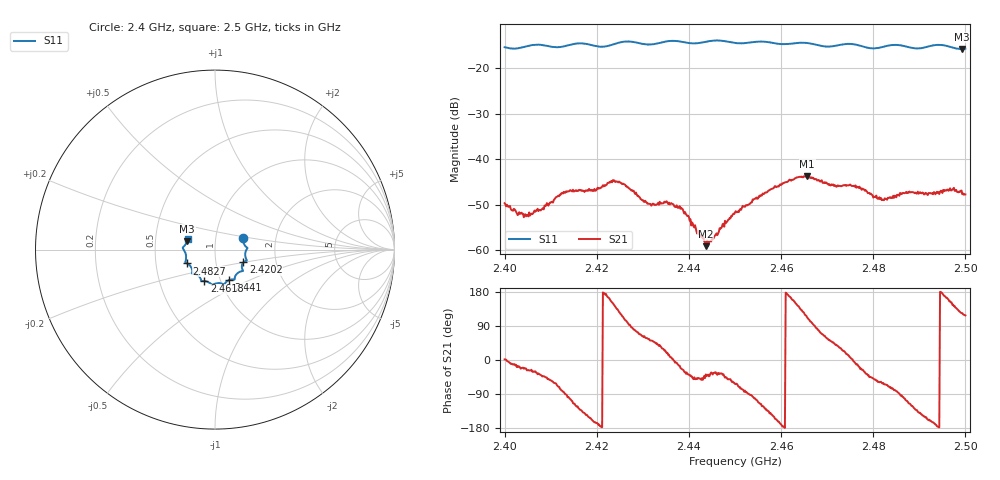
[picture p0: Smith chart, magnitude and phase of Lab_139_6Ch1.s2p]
# Hz S RI R 50
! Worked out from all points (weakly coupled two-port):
!   601 points, 2.4 GHz to 2.5 GHz, reference 50 ohm
!   highest |S21| = -43.71 dB at 2.4657 GHz (marker M1); lowest = -59.1 dB at 2.4437 GHz (marker M2)
!   lowest |S11| = -15.8 dB at 2.4992 GHz (marker M3), VSWR 1.39, Z = 36.5 + j3.65 ohm
!   |S11| at or under -10 dB: start of sweep to end of sweep
!   S12 and S22 are empty: the file has one direction only
!   S11 on the Smith chart (normalised r, x): 2.4 GHz: 1.36, +0.18; 2.4202 GHz: 1.36, -0.20; 2.441 GHz: 1.10, -0.39; 2.4618 GHz: 0.84, -0.30; 2.4827 GHz: 0.72, -0.12; 2.5 GHz: 0.73, +0.09
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2.4e9  0.158 0.0625  0.00328 9.33e-05  0 0  0 0
2.404667e9  0.1728 0.0157  0.00218 -0.000903  0 0  0 0
2.412833e9  0.1692 -0.038  0.000416 -0.00435  0 0  0 0
2.416667e9  0.1771 -0.0607  -0.00312 -0.00334  0 0  0 0
2.420167e9  0.1582 -0.0712  -0.00473 -0.00105  0 0  0 0
2.424e9  0.1515 -0.1067  -0.00436 0.00355  0 0  0 0
2.430667e9  0.1297 -0.1283  0.0018 0.00288  0 0  0 0
2.433333e9  0.1115 -0.1511  0.00252 0.00216  0 0  0 0
2.438167e9  0.1034 -0.1668  0.00266 -0.00101  0 0  0 0
2.441e9  0.0786 -0.1697  0.00116 -0.00141  0 0  0 0
2.443667e9  0.057 -0.1861  0.00087 -0.000684  0 0  0 0
2.444667e9  0.0532 -0.1917  0.00102 -0.000734  0 0  0 0
2.45e9  0.0283 -0.1871  0.00117 -0.00232  0 0  0 0
2.461833e9  -0.0595 -0.1754  -0.00582 0.00128  0 0  0 0
2.465667e9  -0.077 -0.1724  -0.00245 0.00604  0 0  0 0
2.466667e9  -0.0783 -0.1682  -0.000929 0.00624  0 0  0 0
2.476667e9  -0.1267 -0.1267  0.00479 -0.00116  0 0  0 0
2.482667e9  -0.1561 -0.0773  0.00158 -0.0033  0 0  0 0
2.483333e9  -0.1604 -0.0753  0.00128 -0.00352  0 0  0 0
2.487667e9  -0.1617 -0.0533  -0.00174 -0.0039  0 0  0 0
2.499167e9  -0.1547 0.0488  -0.00252 0.00376  0 0  0 0
2.5e9  -0.1522 0.061  -0.0019 0.00363  0 0  0 0
